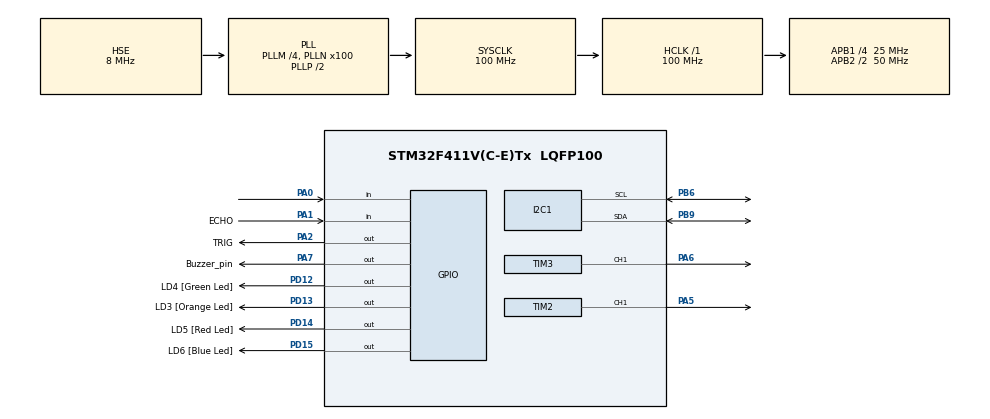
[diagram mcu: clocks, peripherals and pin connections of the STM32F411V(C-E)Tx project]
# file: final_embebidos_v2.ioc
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Mcu.Family=STM32F4
FREERTOS.Queues01=Temp_Queue,25,uint8_t,0,Dynamic,NULL,NULL
PD12.GPIO_Label=LD4 [Green Led]
RCC.CortexFreq_Value=100000000
PD15.GPIO_Speed=GPIO_SPEED_FREQ_LOW
RCC.SYSCLKSource=RCC_SYSCLKSOURCE_PLLCLK
ProjectManager.StackSize=0x400
VP_FREERTOS_VS_CMSIS_V2.Mode=CMSIS_V2
PD13.Signal=GPIO_Output
PD14.GPIO_Speed=GPIO_SPEED_FREQ_LOW
TIM1.Prescaler=1-1
PH0\ -\ OSC_IN.Signal=RCC_OSC_IN
RCC.HCLKFreq_Value=100000000
RCC.APB2TimFreq_Value=100000000
TIM3.Period=0
PB6.Signal=I2C1_SCL
PB6.Mode=I2C
RCC.AHBFreq_Value=100000000
TIM3.Channel-PWM\ Generation1\ CH1=TIM_CHANNEL_1
FREERTOS.configUSE_PREEMPTION=1
RCC.HSE_VALUE=8000000
PA14.Mode=Serial_Wire
TIM3.Prescaler=500-1
PD14.GPIO_PuPd=GPIO_NOPULL
TIM2.Channel-PWM\ Generation1\ CH1=TIM_CHANNEL_1
SH.S_TIM3_CH1.0=TIM3_CH1,PWM Generation1 CH1
VP_TIM1_VS_ClockSourceINT.Mode=Internal
TIM9.Prescaler=1-1
PD13.GPIO_Label=LD3 [Orange Led]
Mcu.Package=LQFP100
PB9.Signal=I2C1_SDA
TIM2.Prescaler=1000-1
PA6.Signal=S_TIM3_CH1
NVIC.TimeBase=TIM1_UP_TIM10_IRQn
PD12.Signal=GPIO_Output
PD15.GPIO_PuPd=GPIO_NOPULL
PA2.GPIO_Label=TRIG
NVIC.TimeBaseIP=TIM10
RCC.APB2CLKDivider=RCC_HCLK_DIV2
RCC.APB1TimFreq_Value=50000000
TIM1.Period=0xffff
PD15.Signal=GPIO_Output
VP_TIM3_VS_ClockSourceINT.Mode=Internal
RCC.PLLSourceVirtual=RCC_PLLSOURCE_HSE
PD12.GPIO_Speed=GPIO_SPEED_FREQ_LOW
FREERTOS.Tasks01=Display,47,128,StartDisplay,Default,NULL,Dynamic,NULL,NULL;Buzzer,24,128,StartBuzzer,Default,NULL,Dynamic,NULL,NULL;DHT_Task,47,128,StartDHTtask,Default,NULL,Dynamic,NULL,NULL;Servo,24,128,StartServo,Default,NULL,Dynamic,NULL,NULL;Ultrasonido,8,128,StartUltrasonido,Default,NULL,Dynamic,NULL,NULL
PD15.GPIO_Label=LD6 [Blue Led]
PH1\ -\ OSC_OUT.Mode=HSE-External-Oscillator
RCC.APB1CLKDivider=RCC_HCLK_DIV4
PA0-WKUP.Signal=GPIO_Input
PA13.Signal=SYS_JTMS-SWDIO
PH0\ -\ OSC_IN.Mode=HSE-External-Oscillator
VP_SYS_VS_tim10.Mode=TIM10
ProjectManager.TargetToolchain=STM32CubeIDE
PB9.Mode=I2C
RCC.LSE_VALUE=32768
PA1.Signal=GPIO_Input
PA5.Signal=S_TIM2_CH1_ETR
PH1\ -\ OSC_OUT.Signal=RCC_OSC_OUT
board=STM32F411E-DISCO
PD13.GPIO_Speed=GPIO_SPEED_FREQ_LOW
RCC.VCOOutputFreq_Value=200000000
VP_TIM9_VS_ClockSourceINT.Mode=Internal
RCC.APB2Freq_Value=50000000
VP_TIM2_VS_ClockSourceINT.Mode=Internal
PA1.GPIO_Label=ECHO
PD13.GPIO_PuPd=GPIO_NOPULL
PD14.GPIO_Label=LD5 [Red Led]
TIM2.Period=1000-1
PA13.Mode=Serial_Wire
Mcu.Name=STM32F411V(C-E)Tx
PA2.Signal=GPIO_Output
PD14.Signal=GPIO_Output
RCC.48MHZClocksFreq_Value=25000000
RCC.SYSCLKFreq_VALUE=100000000
PA7.GPIO_Label=Buzzer_pin
SH.S_TIM2_CH1_ETR.0=TIM2_CH1,PWM Generation1 CH1
PA14.Signal=SYS_JTCK-SWCLK
ProjectManager.HeapSize=0x200
NVIC.TIM1_UP_TIM10_IRQn=true\:0\:0\:false\:false\:true\:false\:false\:true
RCC.HSI_VALUE=16000000
RCC.PLLQ=8
NVIC.PriorityGroup=NVIC_PRIORITYGROUP_4
RCC.PLLM=4
RCC.PLLN=100
RCC.APB1Freq_Value=25000000
RCC.PLLI2SN=200
PD12.GPIO_PuPd=GPIO_NOPULL
RCC.PLLI2SM=5
PA7.Signal=GPIO_Output

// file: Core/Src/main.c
/* USER CODE BEGIN Header */
/**
  ******************************************************************************
  * @file           : main.c
  * @brief          : Main program body
  ******************************************************************************
  * @attention
  *
  * <h2><center>&copy; Copyright (c) 2020 STMicroelectronics.
  * All rights reserved.</center></h2>
  *
  * This software component is licensed by ST under Ultimate Liberty license
  * SLA0044, the "License"; You may not use this file except in compliance with
  * the License. You may obtain a copy of the License at:
  *                             www.st.com/SLA0044
  *
  ******************************************************************************
  */
/* USER CODE END Header */
#include "main.h"
#include "cmsis_os.h"

/* USER CODE BEGIN Includes */
#include "lcd16x2_i2c.h"
#include "Timer_Delay.h"
#include <stdio.h>
#include <stdlib.h>
#include "DHT.h"
#include "hcsr04_sensor.h"
#include "queue.h"
/* USER CODE END Includes */

I2C_HandleTypeDef hi2c1;

TIM_HandleTypeDef htim1;
TIM_HandleTypeDef htim2;
TIM_HandleTypeDef htim3;
TIM_HandleTypeDef htim9;

/* Definitions for Display */
osThreadId_t DisplayHandle;
const osThreadAttr_t Display_attributes = {
  .name = "Display",
  .priority = (osPriority_t) osPriorityAboveNormal,
  .stack_size = 128 * 4
};
/* Definitions for Buzzer */
osThreadId_t BuzzerHandle;
const osThreadAttr_t Buzzer_attributes = {
  .name = "Buzzer",
  .priority = (osPriority_t) osPriorityNormal,
  .stack_size = 128 * 4
};
/* Definitions for DHT_Task */
osThreadId_t DHT_TaskHandle;
const osThreadAttr_t DHT_Task_attributes = {
  .name = "DHT_Task",
  .priority = (osPriority_t) osPriorityAboveNormal,
  .stack_size = 128 * 4
};
/* Definitions for Servo */
osThreadId_t ServoHandle;
const osThreadAttr_t Servo_attributes = {
  .name = "Servo",
  .priority = (osPriority_t) osPriorityNormal,
  .stack_size = 128 * 4
};

/* Definitions for Temp_Queue */
osMessageQueueId_t Temp_QueueHandle;
const osMessageQueueAttr_t Temp_Queue_attributes = {
  .name = "Temp_Queue"
};

QueueHandle_t Temp_QueueHandle2;
/* USER CODE BEGIN PV */
DHT_DataTypeDef DHT22;
/* USER CODE END PV */

void SystemClock_Config(void);
static void MX_GPIO_Init(void);
static void MX_TIM1_Init(void);
static void MX_TIM2_Init(void);
static void MX_TIM3_Init(void);
static void MX_I2C1_Init(void);
static void MX_TIM9_Init(void);
void StartDisplay(void *argument);
void StartBuzzer(void *argument);
void StartDHTtask(void *argument);
void StartServo(void *argument);

/* USER CODE BEGIN 0 */
void Display_Temp(float temp) {
    lcd16x2_i2c_setCursor(0, 0);
    lcd16x2_i2c_printf("Temp: %0.2fC", temp);
}

void delay_us_nueva (uint16_t us)
{
    __HAL_TIM_SET_COUNTER(&htim9,0);  // set the counter value a 0
    while (__HAL_TIM_GET_COUNTER(&htim9) < us);  // wait for the counter to reach the us input in the parameter
}

void Display_Distance(float distance) {
    lcd16x2_i2c_setCursor(1,0);
    lcd16x2_i2c_printf("Dist: %.2f cm    ", distance);
}

void Display_Time(float time) {
    lcd16x2_i2c_setCursor(1,0);
    lcd16x2_i2c_printf("tx:%.2f ms  ", time);
}

uint32_t sensor_time;
uint32_t distance;
uint32_t distanceD;
uint32_t distanceI;

/* USER CODE END 0 */

int main(void)
{

  /* MCU Configuration--------------------------------------------------------*/

  /* Reset of all peripherals, Initializes the Flash interface and the Systick. */
  HAL_Init();

  /* Configure the system clock */
  SystemClock_Config();

  /* Initialize all configured peripherals */
  MX_GPIO_Init();
  MX_TIM1_Init();
  MX_TIM2_Init();
  MX_TIM3_Init();
  MX_I2C1_Init();
  MX_TIM9_Init();
  /* USER CODE BEGIN 2 */
    HAL_TIM_PWM_Start(&htim2, TIM_CHANNEL_1);
    HAL_TIM_PWM_Start(&htim3, TIM_CHANNEL_1);
    TimerDelay_Init();
    HCSR04_Init();
  /* USER CODE END 2 */

  /* Init scheduler */
  osKernelInitialize();

  /* Create the queue(s) */
  /* creation of Temp_Queue */
  Temp_QueueHandle = osMessageQueueNew (25, sizeof(uint8_t), &Temp_Queue_attributes);
  Temp_QueueHandle2 = xQueueCreate( 2000, sizeof(uint8_t));

  /* Create the thread(s) */
  /* creation of Display */
  DisplayHandle = osThreadNew(StartDisplay, NULL, &Display_attributes);

  /* creation of Buzzer */
  BuzzerHandle = osThreadNew(StartBuzzer, NULL, &Buzzer_attributes);

  /* creation of DHT_Task */
  DHT_TaskHandle = osThreadNew(StartDHTtask, NULL, &DHT_Task_attributes);

  /* creation of Servo */
  ServoHandle = osThreadNew(StartServo, NULL, &Servo_attributes);

  /* Start scheduler */
  osKernelStart();

  /* We should never get here as control is now taken by the scheduler */
  /* Infinite loop */
  while (1)
  {

  }
}

void SystemClock_Config(void)
{
  RCC_OscInitTypeDef RCC_OscInitStruct = {0};
  RCC_ClkInitTypeDef RCC_ClkInitStruct = {0};

  /** Configure the main internal regulator output voltage
  */
  __HAL_RCC_PWR_CLK_ENABLE();
  __HAL_PWR_VOLTAGESCALING_CONFIG(PWR_REGULATOR_VOLTAGE_SCALE1);
  /** Initializes the RCC Oscillators according to the specified parameters
  * in the RCC_OscInitTypeDef structure.
  */
  RCC_OscInitStruct.OscillatorType = RCC_OSCILLATORTYPE_HSE;
  RCC_OscInitStruct.HSEState = RCC_HSE_ON;
  RCC_OscInitStruct.PLL.PLLState = RCC_PLL_ON;
  RCC_OscInitStruct.PLL.PLLSource = RCC_PLLSOURCE_HSE;
  RCC_OscInitStruct.PLL.PLLM = 4;
  RCC_OscInitStruct.PLL.PLLN = 100;
  RCC_OscInitStruct.PLL.PLLP = RCC_PLLP_DIV2;
  RCC_OscInitStruct.PLL.PLLQ = 8;
  if (HAL_RCC_OscConfig(&RCC_OscInitStruct) != HAL_OK)
  {
    Error_Handler();
  }
  /** Initializes the CPU, AHB and APB buses clocks
  */
  RCC_ClkInitStruct.ClockType = RCC_CLOCKTYPE_HCLK|RCC_CLOCKTYPE_SYSCLK
                              |RCC_CLOCKTYPE_PCLK1|RCC_CLOCKTYPE_PCLK2;
  RCC_ClkInitStruct.SYSCLKSource = RCC_SYSCLKSOURCE_PLLCLK;
  RCC_ClkInitStruct.AHBCLKDivider = RCC_SYSCLK_DIV1;
  RCC_ClkInitStruct.APB1CLKDivider = RCC_HCLK_DIV4;
  RCC_ClkInitStruct.APB2CLKDivider = RCC_HCLK_DIV2;

  if (HAL_RCC_ClockConfig(&RCC_ClkInitStruct, FLASH_LATENCY_3) != HAL_OK)
  {
    Error_Handler();
  }
}

static void MX_I2C1_Init(void)
{

  hi2c1.Instance = I2C1;
  hi2c1.Init.ClockSpeed = 100000;
  hi2c1.Init.DutyCycle = I2C_DUTYCYCLE_2;
  hi2c1.Init.OwnAddress1 = 0;
  hi2c1.Init.AddressingMode = I2C_ADDRESSINGMODE_7BIT;
  hi2c1.Init.DualAddressMode = I2C_DUALADDRESS_DISABLE;
  hi2c1.Init.OwnAddress2 = 0;
  hi2c1.Init.GeneralCallMode = I2C_GENERALCALL_DISABLE;
  hi2c1.Init.NoStretchMode = I2C_NOSTRETCH_DISABLE;
  if (HAL_I2C_Init(&hi2c1) != HAL_OK)
  {
    Error_Handler();
  }

}

static void MX_TIM1_Init(void)
{

  TIM_ClockConfigTypeDef sClockSourceConfig = {0};
  TIM_MasterConfigTypeDef sMasterConfig = {0};

  htim1.Instance = TIM1;
  htim1.Init.Prescaler = 1-1;
  htim1.Init.CounterMode = TIM_COUNTERMODE_UP;
  htim1.Init.Period = 0xffff;
  htim1.Init.ClockDivision = TIM_CLOCKDIVISION_DIV1;
  htim1.Init.RepetitionCounter = 0;
  htim1.Init.AutoReloadPreload = TIM_AUTORELOAD_PRELOAD_DISABLE;
  if (HAL_TIM_Base_Init(&htim1) != HAL_OK)
  {
    Error_Handler();
  }
  sClockSourceConfig.ClockSource = TIM_CLOCKSOURCE_INTERNAL;
  if (HAL_TIM_ConfigClockSource(&htim1, &sClockSourceConfig) != HAL_OK)
  {
    Error_Handler();
  }
  sMasterConfig.MasterOutputTrigger = TIM_TRGO_RESET;
  sMasterConfig.MasterSlaveMode = TIM_MASTERSLAVEMODE_DISABLE;
  if (HAL_TIMEx_MasterConfigSynchronization(&htim1, &sMasterConfig) != HAL_OK)
  {
    Error_Handler();
  }

}

static void MX_TIM2_Init(void)
{

  TIM_ClockConfigTypeDef sClockSourceConfig = {0};
  TIM_MasterConfigTypeDef sMasterConfig = {0};
  TIM_OC_InitTypeDef sConfigOC = {0};

  htim2.Instance = TIM2;
  htim2.Init.Prescaler = 1000-1;
  htim2.Init.CounterMode = TIM_COUNTERMODE_UP;
  htim2.Init.Period = 1000-1;
  htim2.Init.ClockDivision = TIM_CLOCKDIVISION_DIV1;
  htim2.Init.AutoReloadPreload = TIM_AUTORELOAD_PRELOAD_DISABLE;
  if (HAL_TIM_Base_Init(&htim2) != HAL_OK)
  {
    Error_Handler();
  }
  sClockSourceConfig.ClockSource = TIM_CLOCKSOURCE_INTERNAL;
  if (HAL_TIM_ConfigClockSource(&htim2, &sClockSourceConfig) != HAL_OK)
  {
    Error_Handler();
  }
  if (HAL_TIM_PWM_Init(&htim2) != HAL_OK)
  {
    Error_Handler();
  }
  sMasterConfig.MasterOutputTrigger = TIM_TRGO_RESET;
  sMasterConfig.MasterSlaveMode = TIM_MASTERSLAVEMODE_DISABLE;
  if (HAL_TIMEx_MasterConfigSynchronization(&htim2, &sMasterConfig) != HAL_OK)
  {
    Error_Handler();
  }
  sConfigOC.OCMode = TIM_OCMODE_PWM1;
  sConfigOC.Pulse = 0;
  sConfigOC.OCPolarity = TIM_OCPOLARITY_HIGH;
  sConfigOC.OCFastMode = TIM_OCFAST_DISABLE;
  if (HAL_TIM_PWM_ConfigChannel(&htim2, &sConfigOC, TIM_CHANNEL_1) != HAL_OK)
  {
    Error_Handler();
  }
  HAL_TIM_MspPostInit(&htim2);

}

static void MX_TIM3_Init(void)
{

  TIM_ClockConfigTypeDef sClockSourceConfig = {0};
  TIM_MasterConfigTypeDef sMasterConfig = {0};
  TIM_OC_InitTypeDef sConfigOC = {0};

  htim3.Instance = TIM3;
  htim3.Init.Prescaler = 500-1;
  htim3.Init.CounterMode = TIM_COUNTERMODE_UP;
  htim3.Init.Period = 0;
  htim3.Init.ClockDivision = TIM_CLOCKDIVISION_DIV1;
  htim3.Init.AutoReloadPreload = TIM_AUTORELOAD_PRELOAD_DISABLE;
  if (HAL_TIM_Base_Init(&htim3) != HAL_OK)
  {
    Error_Handler();
  }
  sClockSourceConfig.ClockSource = TIM_CLOCKSOURCE_INTERNAL;
  if (HAL_TIM_ConfigClockSource(&htim3, &sClockSourceConfig) != HAL_OK)
  {
    Error_Handler();
  }
  if (HAL_TIM_PWM_Init(&htim3) != HAL_OK)
  {
    Error_Handler();
  }
  sMasterConfig.MasterOutputTrigger = TIM_TRGO_RESET;
  sMasterConfig.MasterSlaveMode = TIM_MASTERSLAVEMODE_DISABLE;
  if (HAL_TIMEx_MasterConfigSynchronization(&htim3, &sMasterConfig) != HAL_OK)
  {
    Error_Handler();
  }
  sConfigOC.OCMode = TIM_OCMODE_PWM1;
  sConfigOC.Pulse = 0;
  sConfigOC.OCPolarity = TIM_OCPOLARITY_HIGH;
  sConfigOC.OCFastMode = TIM_OCFAST_DISABLE;
  if (HAL_TIM_PWM_ConfigChannel(&htim3, &sConfigOC, TIM_CHANNEL_1) != HAL_OK)
  {
    Error_Handler();
  }
  HAL_TIM_MspPostInit(&htim3);

}

static void MX_TIM9_Init(void)
{

  TIM_ClockConfigTypeDef sClockSourceConfig = {0};

  htim9.Instance = TIM9;
  htim9.Init.Prescaler = 1-1;
  htim9.Init.CounterMode = TIM_COUNTERMODE_UP;
  htim9.Init.Period = 65535;
  htim9.Init.ClockDivision = TIM_CLOCKDIVISION_DIV1;
  htim9.Init.AutoReloadPreload = TIM_AUTORELOAD_PRELOAD_DISABLE;
  if (HAL_TIM_Base_Init(&htim9) != HAL_OK)
  {
    Error_Handler();
  }
  sClockSourceConfig.ClockSource = TIM_CLOCKSOURCE_INTERNAL;
  if (HAL_TIM_ConfigClockSource(&htim9, &sClockSourceConfig) != HAL_OK)
  {
    Error_Handler();
  }

}

static void MX_GPIO_Init(void)
{
  GPIO_InitTypeDef GPIO_InitStruct = {0};

  /* GPIO Ports Clock Enable */
  __HAL_RCC_GPIOH_CLK_ENABLE();
  __HAL_RCC_GPIOA_CLK_ENABLE();
  __HAL_RCC_GPIOD_CLK_ENABLE();
  __HAL_RCC_GPIOB_CLK_ENABLE();

  /*Configure GPIO pin Output Level */
  HAL_GPIO_WritePin(GPIOA, TRIG_Pin|Buzzer_pin_Pin, GPIO_PIN_RESET);

  /*Configure GPIO pin Output Level */
  HAL_GPIO_WritePin(GPIOD, LD4_Pin|LD3_Pin|LD5_Pin|LD6_Pin, GPIO_PIN_RESET);

  /*Configure GPIO pins : PA0 ECHO_Pin */
  GPIO_InitStruct.Pin = GPIO_PIN_0|ECHO_Pin;
  GPIO_InitStruct.Mode = GPIO_MODE_INPUT;
  GPIO_InitStruct.Pull = GPIO_NOPULL;
  HAL_GPIO_Init(GPIOA, &GPIO_InitStruct);

  /*Configure GPIO pins : TRIG_Pin Buzzer_pin_Pin */
  GPIO_InitStruct.Pin = TRIG_Pin|Buzzer_pin_Pin;
  GPIO_InitStruct.Mode = GPIO_MODE_OUTPUT_PP;
  GPIO_InitStruct.Pull = GPIO_NOPULL;
  GPIO_InitStruct.Speed = GPIO_SPEED_FREQ_LOW;
  HAL_GPIO_Init(GPIOA, &GPIO_InitStruct);

  /*Configure GPIO pins : LD4_Pin LD3_Pin LD5_Pin LD6_Pin */
  GPIO_InitStruct.Pin = LD4_Pin|LD3_Pin|LD5_Pin|LD6_Pin;
  GPIO_InitStruct.Mode = GPIO_MODE_OUTPUT_PP;
  GPIO_InitStruct.Pull = GPIO_NOPULL;
  GPIO_InitStruct.Speed = GPIO_SPEED_FREQ_LOW;
  HAL_GPIO_Init(GPIOD, &GPIO_InitStruct);

}

void StartDisplay(void *argument)
{
  /* USER CODE BEGIN 5 */
    uint8_t t1Received;
  /* Infinite loop */

  for(;;)
  {
      if (lcd16x2_i2c_init(&hi2c1)) {
          //led?
      }
      lcd16x2_i2c_clear();
      lcd16x2_i2c_printf("acercar mano");
      vTaskDelay(800);
      if (uxQueueMessagesWaiting(Temp_QueueHandle2) != 0 ){
          xQueueReceive(Temp_QueueHandle2, &t1Received, 500);
          lcd16x2_i2c_clear();
          Display_Temp(t1Received);
          xTaskNotifyGive(BuzzerHandle);
          vTaskDelay(1000);

      }
  }
  /* USER CODE END 5 */
}

void StartBuzzer(void *argument)
{
  /* USER CODE BEGIN StartBuzzer */
   int notificationValue;
    /* Infinite loop */
  for(;;)
  {
notificationValue = ulTaskNotifyTake(pdTRUE,portMAX_DELAY);

if (notificationValue > 0 ){
    float t = 0;
    taskENTER_CRITICAL();
    while  (t<25){
        HAL_GPIO_WritePin(Buzzer_pin_GPIO_Port, Buzzer_pin_Pin , GPIO_PIN_SET);
        delay_us(100);
        HAL_GPIO_WritePin(Buzzer_pin_GPIO_Port, Buzzer_pin_Pin, GPIO_PIN_RESET);
        delay_us(100);
        t = t + 1;
    }
    taskEXIT_CRITICAL();
    xTaskNotifyGive(ServoHandle);
}
  }
  /* USER CODE END StartBuzzer */
}

void StartDHTtask(void *argument)
{
  /* USER CODE BEGIN StartDHTtask */
    uint8_t t1 = 10;

  /* Infinite loop */
  for(;;)
  {
      taskENTER_CRITICAL();
        sensor_time = hcsr04_read();
      taskEXIT_CRITICAL();
      distance  = sensor_time * .034/2;

      if (distance<15){
          taskENTER_CRITICAL();
           DHT_GetData(&DHT22);
          taskEXIT_CRITICAL();
          t1 = DHT22.Temperature;
          xQueueSend(Temp_QueueHandle2,  ( void * ) &t1, 500);

          vTaskDelay(1000);
          HAL_GPIO_WritePin(GPIOD, LD5_Pin, GPIO_PIN_SET);
          vTaskDelay(1000);
          //osDelay(1000); VA TASK DELAY
          HAL_GPIO_WritePin(GPIOD, LD5_Pin, GPIO_PIN_RESET);
      }

  }
  /* USER CODE END StartDHTtask */
}

void StartServo(void *argument)
{
  /* USER CODE BEGIN StartServo */
  /* Infinite loop */
  int notificationValue;
  for(;;)
  {
      notificationValue = ulTaskNotifyTake(pdTRUE,portMAX_DELAY);
      if (notificationValue > 0 ){
          htim2.Instance->CCR1 = 115;
          HAL_Delay(350);
          htim2.Instance->CCR1 = 125;
      }

  }
  /* USER CODE END StartServo */
}

void HAL_TIM_PeriodElapsedCallback(TIM_HandleTypeDef *htim)
{
  if (htim->Instance == TIM10) {
    HAL_IncTick();
  }
}

void Error_Handler(void)
{
}

/************************ (C) COPYRIGHT STMicroelectronics *****END OF FILE****/
